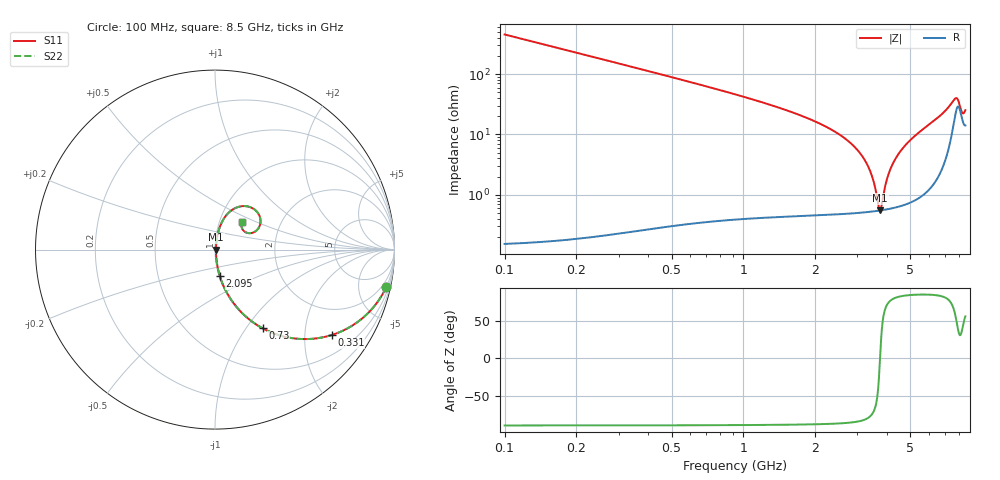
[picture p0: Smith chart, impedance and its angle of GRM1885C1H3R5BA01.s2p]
!Murata Part Number: GRM1885C1H3R5BA01
!These Parameters are Measured in Series Mode Connection
!Data Generated on Mar 30, 2021
!  o--ll--o
!Port1  Port2
!  o------o
!Operation Temp=25[degC], DC Bias Voltage=0[V]
!Freq. Start=100[MHz] Stop=9[GHz] 401[Steps]
# Hz S RI R 50
!Freq.(Hz) S11(Real) S11(Imag) S21(Real) S21(Imag) S12(Real) S12(Imag) S22(Real) S22(Imag)
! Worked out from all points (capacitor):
!   401 points, 100 MHz to 8.5 GHz, reference 50 ohm
!   read as one part in series: C = 3.5 pF near 142 MHz
!   lowest |Z| = 549 mohm at 3.733 GHz (marker M1)
!   series resonance near 3.733 GHz, so ESL is about 520 pH
!   S11 on the Smith chart (normalised r, x): 100 MHz: 1.00, -9.09; 331 MHz: 1.00, -2.72; 730 MHz: 1.01, -1.20; 2.095 GHz: 1.01, -0.30; 8.5 GHz: 1.28, +0.42
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1e8  0.9537 -0.2099  0.0463 0.2099  0.0463 0.2099  0.9537 -0.2099
2.05e8  0.8299 -0.3753  0.1701 0.3753  0.1701 0.3753  0.8299 -0.3753
3.31e8  0.6495 -0.4762  0.3505 0.4762  0.3505 0.4762  0.6495 -0.4762
5.2e8  0.4236 -0.4923  0.5764 0.4923  0.5764 0.4923  0.4236 -0.4923
7.3e8  0.2651 -0.4384  0.7349 0.4384  0.7349 0.4384  0.2651 -0.4384
1.045e9  0.1412 -0.3433  0.8588 0.3433  0.8588 0.3433  0.1412 -0.3433
1.507e9  0.064 -0.2364  0.936 0.2364  0.936 0.2364  0.064 -0.2364
2.095e9  0.0264 -0.1457  0.9736 0.1457  0.9736 0.1457  0.0264 -0.1457
2.914e9  0.00876 -0.0617  0.9912 0.0617  0.9912 0.0617  0.00876 -0.0617
3.397e9  0.00576 -0.0236  0.9942 0.0236  0.9942 0.0236  0.00576 -0.0236
3.544e9  0.00548 -0.0131  0.9945 0.0131  0.9945 0.0131  0.00548 -0.0131
3.691e9  0.00543 -0.00284  0.9946 0.00284  0.9946 0.00284  0.00543 -0.00284
3.733e9  0.00546 1.4e-05  0.9945 -1.4e-05  0.9945 -1.4e-05  0.00546 1.4e-05
4.006e9  0.00605 0.018  0.994 -0.018  0.994 -0.018  0.00605 0.018
4.3e9  0.00742 0.0366  0.9926 -0.0366  0.9926 -0.0366  0.00742 0.0366
4.846e9  0.0119 0.0696  0.9881 -0.0696  0.9881 -0.0696  0.0119 0.0696
5.707e9  0.0252 0.1214  0.9748 -0.1214  0.9748 -0.1214  0.0252 0.1214
7.114e9  0.0995 0.224  0.9005 -0.224  0.9005 -0.224  0.0995 0.224
7.723e9  0.2354 0.2089  0.7646 -0.2089  0.7646 -0.2089  0.2354 0.2089
8.017e9  0.2278 0.1035  0.7722 -0.1035  0.7722 -0.1035  0.2278 0.1035
8.227e9  0.1663 0.0991  0.8337 -0.0991  0.8337 -0.0991  0.1663 0.0991
8.5e9  0.1524 0.1564  0.8476 -0.1564  0.8476 -0.1564  0.1524 0.1564
